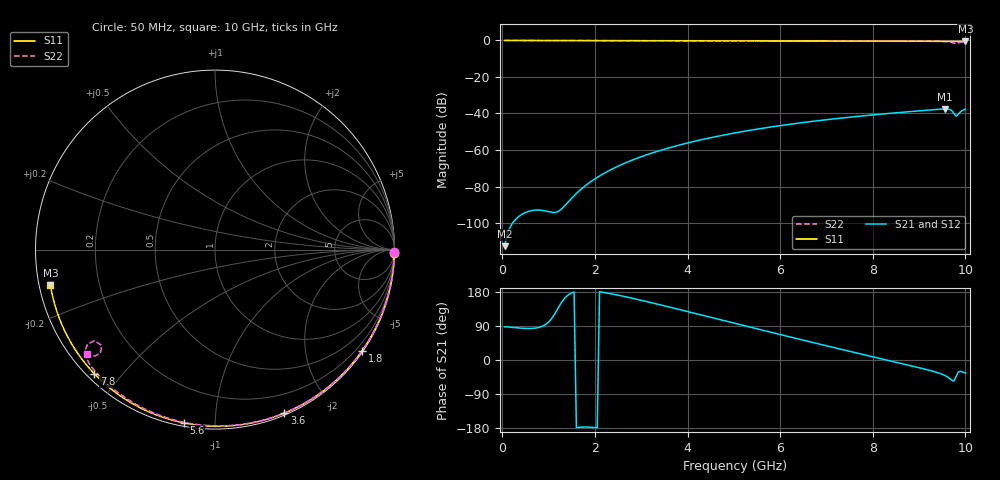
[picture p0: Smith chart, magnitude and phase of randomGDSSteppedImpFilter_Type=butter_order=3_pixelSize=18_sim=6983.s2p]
! freq	dB(S11)	phase(S11)	dB(S12)	phase(S12)
!  dB(S21)	phase(S21)	dB(S22)	phase(S22)
!S-par simulation data
#  GHz  S  DB  R 50
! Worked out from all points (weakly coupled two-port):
!   200 points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, 50 MHz to 10 GHz, reference 50 ohm
!   highest |S21| = -37.53 dB at 9.55 GHz (marker M1); lowest = -112.7 dB at 50 MHz (marker M2)
!   lowest |S11| = -0.6 dB at 10 GHz (marker M3), VSWR 31.42, Z = 1.61 - j5.3 ohm
!   |S11| at or under -10 dB: nowhere
!   |S22| runs from -1.6 to 0.0 dB; largest |S21 - S12| = 0
!   S11 on the Smith chart (normalised r, x): 50 MHz: open; 1.8 GHz: 0.03, -3.22; 3.6 GHz: 0.02, -1.51; 5.6 GHz: 0.02, -0.84; 7.8 GHz: 0.02, -0.42; 10 GHz: 0.03, -0.11
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0.05  -0.00 -1.0  -112.68 87.6  -112.68 87.6  -0.00 -0.8
0.85  -0.02 -16.5  -93.04 88.4  -93.04 88.4  -0.02 -13.8
1.75  -0.04 -33.6  -80.44 -176.8  -80.44 -176.8  -0.04 -28.1
1.8  -0.04 -34.5  -79.42 -176.7  -79.42 -176.7  -0.04 -28.9
2.1  -0.05 -40.1  -74.21 180.0  -74.21 180.0  -0.04 -33.6
2.5  -0.06 -47.4  -68.85 171.2  -68.85 171.2  -0.05 -39.8
2.9  -0.07 -54.7  -64.61 160.4  -64.61 160.4  -0.06 -45.9
3.4  -0.08 -63.5  -60.32 145.9  -60.32 145.9  -0.07 -53.5
3.6  -0.09 -67.0  -58.83 139.9  -58.83 139.9  -0.08 -56.4
4.3  -0.11 -79.0  -54.36 118.8  -54.36 118.8  -0.09 -66.7
5.05  -0.14 -91.4  -50.53 95.9  -50.53 95.9  -0.12 -77.3
5.6  -0.17 -100.3  -48.18 79.2  -48.18 79.2  -0.14 -85.0
6.7  -0.23 -117.4  -44.31 46.3  -44.31 46.3  -0.19 -99.8
7.8  -0.31 -134.2  -41.26 14.2  -41.26 14.2  -0.27 -114.3
8.35  -0.36 -142.5  -39.96 -1.6  -39.96 -1.6  -0.31 -121.6
9.1  -0.44 -153.9  -38.35 -23.3  -38.35 -23.3  -0.40 -131.9
9.55  -0.50 -160.8  -37.53 -40.4  -37.53 -40.4  -0.57 -139.8
9.7  -0.52 -163.1  -38.28 -53.0  -38.28 -53.0  -1.07 -143.4
9.75  -0.52 -163.9  -39.87 -55.7  -39.87 -55.7  -1.51 -142.9
9.8  -0.53 -164.7  -41.46 -43.4  -41.46 -43.4  -1.65 -139.6
9.9  -0.54 -166.3  -38.93 -30.1  -38.93 -30.1  -0.98 -138.5
10  -0.55 -167.9  -37.65 -34.1  -37.65 -34.1  -0.72 -140.9
